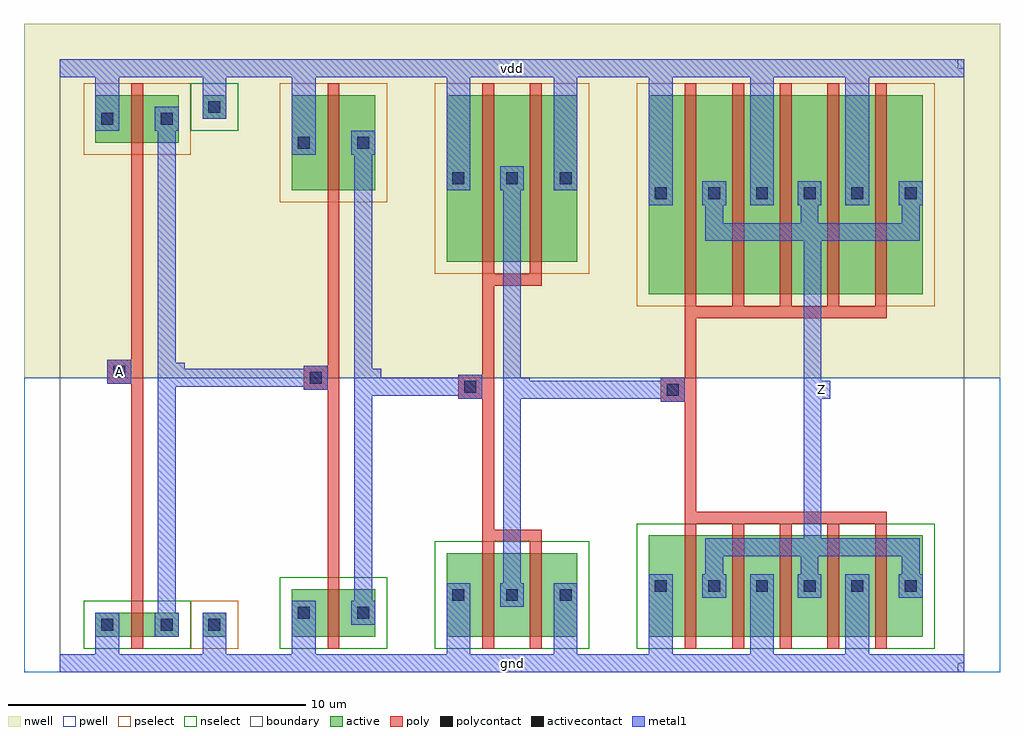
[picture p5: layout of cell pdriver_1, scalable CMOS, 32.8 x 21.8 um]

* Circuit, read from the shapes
.subckt pdriver_1 A Z gnd vdd
M1 pinv_10_1/A A gnd gnd nfet w=0.8u l=0.4u
M2 pinv_15_2/A pinv_10_1/A gnd gnd nfet w=1.6u l=0.4u
M3 pinv_16_3/A pinv_15_2/A gnd gnd nfet w=2.8u l=0.4u m=2
M4 Z pinv_16_3/A gnd gnd nfet w=3.4u l=0.4u m=5
M5 pinv_10_1/A A vdd vdd pfet w=1.6u l=0.4u
M6 pinv_15_2/A pinv_10_1/A vdd vdd pfet w=3.2u l=0.4u
M7 pinv_16_3/A pinv_15_2/A vdd vdd pfet w=5.6u l=0.4u m=2
M8 Z pinv_16_3/A vdd vdd pfet w=6.7u l=0.4u m=5
.ends

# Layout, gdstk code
import gdstk
lib = gdstk.Library(unit=1e-6, precision=1e-09)
def R(c, l, rs):  # rectangles x0, y0, x1, y1
    for r in rs: c.add(gdstk.rectangle(r[:2], r[2:], *l))
def A(c, l, x, y, w, h, nx, ny, dx, dy):  # array of equal rectangles
    R(c, l, [(x+i*dx, y+j*dy, x+i*dx+w, y+j*dy+h) for i in range(nx) for j in range(ny)])
pwell = (41, 0)
nwell = (42, 0)
active = (43, 0)
pselect = (44, 0)
nselect = (45, 0)
poly = (46, 0)
polycontact = (47, 0)
activecontact = (48, 0)
metal1 = (49, 0)
boundary = (63, 0)

contact_10 = lib.new_cell('contact_10')
R(contact_10, nwell, [(-1.2,-1.2,2,2)])
R(contact_10, active, [(0,0,0.8,0.8)])
R(contact_10, pselect, [(-0.4,-0.4,1.2,1.2)])
R(contact_10, activecontact, [(0.2,0.2,0.6,0.6)])
R(contact_10, metal1, [(0,0,0.8,0.8)])
R(contact_10, boundary, [(-1.2,-1.2,2,2)])

pmos_m1_w1_600_sm1_dm1_d = lib.new_cell('pmos_m1_w1_600_sm1_dm1_da_p')
R(pmos_m1_w1_600_sm1_dm1_d, nwell, [(-1.2,-1.2,4,2.8)])
R(pmos_m1_w1_600_sm1_dm1_d, active, [(0,0,2.8,1.6)])
R(pmos_m1_w1_600_sm1_dm1_d, pselect, [(-0.4,-0.4,3.2,2)])
R(pmos_m1_w1_600_sm1_dm1_d, poly, [(1.2,-0.4,1.6,2), (1.2,-0.4,1.6,2)])
R(pmos_m1_w1_600_sm1_dm1_d, metal1, [(0,0.4,0.8,1.2), (2,0.4,2.8,1.2)])
R(pmos_m1_w1_600_sm1_dm1_d, boundary, [(-1.2,-1.2,4,2.8)])
pmos_m1_w1_600_sm1_dm1_d.add(gdstk.Reference(contact_10, (0,0.4)))
pmos_m1_w1_600_sm1_dm1_d.add(gdstk.Reference(contact_10, (2,0.4)))
pmos_m1_w1_600_sm1_dm1_d.add(gdstk.Label('G', (1.4,0.8), layer=46, texttype=0))
pmos_m1_w1_600_sm1_dm1_d.add(gdstk.Label('S', (0.4,0.8), layer=49, texttype=0))
pmos_m1_w1_600_sm1_dm1_d.add(gdstk.Label('D', (2.4,0.8), layer=49, texttype=0))

contact_9 = lib.new_cell('contact_9')
R(contact_9, pwell, [(-1.2,-1.2,2,2)])
R(contact_9, active, [(0,0,0.8,0.8)])
R(contact_9, nselect, [(-0.4,-0.4,1.2,1.2)])
R(contact_9, activecontact, [(0.2,0.2,0.6,0.6)])
R(contact_9, metal1, [(0,0,0.8,0.8)])
R(contact_9, boundary, [(-1.2,-1.2,2,2)])

nmos_m1_w0_800_sm1_dm1_d = lib.new_cell('nmos_m1_w0_800_sm1_dm1_da_p')
R(nmos_m1_w0_800_sm1_dm1_d, pwell, [(-1.2,-1.2,4,2)])
R(nmos_m1_w0_800_sm1_dm1_d, active, [(0,0,2.8,0.8)])
R(nmos_m1_w0_800_sm1_dm1_d, nselect, [(-0.4,-0.4,3.2,1.2)])
R(nmos_m1_w0_800_sm1_dm1_d, poly, [(1.2,-0.4,1.6,1.2), (1.2,-0.4,1.6,1.2)])
R(nmos_m1_w0_800_sm1_dm1_d, metal1, [(0,0,0.8,0.8), (2,0,2.8,0.8)])
R(nmos_m1_w0_800_sm1_dm1_d, boundary, [(-1.2,-1.2,4,2)])
nmos_m1_w0_800_sm1_dm1_d.add(gdstk.Reference(contact_9, (0,0)))
nmos_m1_w0_800_sm1_dm1_d.add(gdstk.Reference(contact_9, (2,0)))
nmos_m1_w0_800_sm1_dm1_d.add(gdstk.Label('G', (1.4,0.4), layer=46, texttype=0))
nmos_m1_w0_800_sm1_dm1_d.add(gdstk.Label('S', (0.4,0.4), layer=49, texttype=0))
nmos_m1_w0_800_sm1_dm1_d.add(gdstk.Label('D', (2.4,0.4), layer=49, texttype=0))

contact_11 = lib.new_cell('contact_11')
R(contact_11, nwell, [(-1.2,-1.2,2,2)])
R(contact_11, active, [(0,0,0.8,0.8)])
R(contact_11, nselect, [(-0.4,-0.4,1.2,1.2)])
R(contact_11, activecontact, [(0.2,0.2,0.6,0.6)])
R(contact_11, metal1, [(0,0,0.8,0.8)])
R(contact_11, boundary, [(-1.2,-1.2,2,2)])

contact_12 = lib.new_cell('contact_12')
R(contact_12, pwell, [(-1.2,-1.2,2,2)])
R(contact_12, active, [(0,0,0.8,0.8)])
R(contact_12, pselect, [(-0.4,-0.4,1.2,1.2)])
R(contact_12, activecontact, [(0.2,0.2,0.6,0.6)])
R(contact_12, metal1, [(0,0,0.8,0.8)])
R(contact_12, boundary, [(-1.2,-1.2,2,2)])

contact_13 = lib.new_cell('contact_13')
R(contact_13, poly, [(0,0,0.8,0.8)])
R(contact_13, polycontact, [(0.2,0.2,0.6,0.6)])
R(contact_13, metal1, [(0,0,0.8,0.8)])
R(contact_13, boundary, [(0,0,0.8,0.8)])

pinv_8 = lib.new_cell('pinv_8')
R(pinv_8, pwell, [(-1.2,-0.3,7.8,9.6)])
R(pinv_8, nwell, [(-1.2,9.6,7.8,21.5)])
R(pinv_8, poly, [(2.4,2.1,2.8,17.1), (2,9.4,2.4,10.2)])
R(pinv_8, metal1, [(0,-0.3,6.6,0.3), (1.2,-0.3,2,0.9), (4.8,0,5.6,1.3), (3.3,0.9,3.9,18.7), (1.6,9.4,2.4,10.2), (3.6,9.5,4.2,10.1), (1.2,17.9,2,20.3), (4.8,18.7,5.6,20), (0,19.7,6.6,20.3)])
R(pinv_8, boundary, [(0,0,6.6,20), (0,0,6.6,20)])
pinv_8.add(gdstk.Reference(pmos_m1_w1_600_sm1_dm1_d, (1.2,17.5)))
pinv_8.add(gdstk.Reference(nmos_m1_w0_800_sm1_dm1_d, (1.2,0.9)))
pinv_8.add(gdstk.Reference(contact_11, (4.8,18.3)))
pinv_8.add(gdstk.Reference(contact_12, (4.8,0.9)))
pinv_8.add(gdstk.Reference(contact_13, (1.6,9.4)))
pinv_8.add(gdstk.Label('A', (2,9.8), layer=49, texttype=0))
pinv_8.add(gdstk.Label('Z', (3.9,9.8), layer=49, texttype=0))
pinv_8.add(gdstk.Label('gnd', (3.3,0), layer=49, texttype=0))
pinv_8.add(gdstk.Label('vdd', (3.3,20), layer=49, texttype=0))

pmos_m1_w3_200_sm1_dm1_d = lib.new_cell('pmos_m1_w3_200_sm1_dm1_da_p')
R(pmos_m1_w3_200_sm1_dm1_d, nwell, [(-1.2,-1.2,4,4.4)])
R(pmos_m1_w3_200_sm1_dm1_d, active, [(0,0,2.8,3.2)])
R(pmos_m1_w3_200_sm1_dm1_d, pselect, [(-0.4,-0.4,3.2,3.6)])
R(pmos_m1_w3_200_sm1_dm1_d, poly, [(1.2,-0.4,1.6,3.6), (1.2,-0.4,1.6,3.6)])
R(pmos_m1_w3_200_sm1_dm1_d, metal1, [(0,1.2,0.8,2), (2,1.2,2.8,2)])
R(pmos_m1_w3_200_sm1_dm1_d, boundary, [(-1.2,-1.2,4,4.4)])
pmos_m1_w3_200_sm1_dm1_d.add(gdstk.Reference(contact_10, (0,1.2)))
pmos_m1_w3_200_sm1_dm1_d.add(gdstk.Reference(contact_10, (2,1.2)))
pmos_m1_w3_200_sm1_dm1_d.add(gdstk.Label('G', (1.4,1.6), layer=46, texttype=0))
pmos_m1_w3_200_sm1_dm1_d.add(gdstk.Label('S', (0.4,1.6), layer=49, texttype=0))
pmos_m1_w3_200_sm1_dm1_d.add(gdstk.Label('D', (2.4,1.6), layer=49, texttype=0))

nmos_m1_w1_600_sm1_dm1_d = lib.new_cell('nmos_m1_w1_600_sm1_dm1_da_p')
R(nmos_m1_w1_600_sm1_dm1_d, pwell, [(-1.2,-1.2,4,2.8)])
R(nmos_m1_w1_600_sm1_dm1_d, active, [(0,0,2.8,1.6)])
R(nmos_m1_w1_600_sm1_dm1_d, nselect, [(-0.4,-0.4,3.2,2)])
R(nmos_m1_w1_600_sm1_dm1_d, poly, [(1.2,-0.4,1.6,2), (1.2,-0.4,1.6,2)])
R(nmos_m1_w1_600_sm1_dm1_d, metal1, [(0,0.4,0.8,1.2), (2,0.4,2.8,1.2)])
R(nmos_m1_w1_600_sm1_dm1_d, boundary, [(-1.2,-1.2,4,2.8)])
nmos_m1_w1_600_sm1_dm1_d.add(gdstk.Reference(contact_9, (0,0.4)))
nmos_m1_w1_600_sm1_dm1_d.add(gdstk.Reference(contact_9, (2,0.4)))
nmos_m1_w1_600_sm1_dm1_d.add(gdstk.Label('G', (1.4,0.8), layer=46, texttype=0))
nmos_m1_w1_600_sm1_dm1_d.add(gdstk.Label('S', (0.4,0.8), layer=49, texttype=0))
nmos_m1_w1_600_sm1_dm1_d.add(gdstk.Label('D', (2.4,0.8), layer=49, texttype=0))

pinv_10 = lib.new_cell('pinv_10')
R(pinv_10, pwell, [(-1.2,-0.3,6.4,9.6)])
R(pinv_10, nwell, [(-1.2,9.6,6.4,21.5)])
R(pinv_10, poly, [(2.4,2.9,2.8,15.5), (2,9.2,2.4,10)])
R(pinv_10, metal1, [(0,-0.3,5.2,0.3), (1.2,-0.3,2,1.3), (3.3,1.3,3.9,17.9), (1.6,9.2,2.4,10), (3.6,9.3,4.2,9.9), (1.2,17.1,2,20.3), (0,19.7,5.2,20.3)])
R(pinv_10, boundary, [(0,0,5.2,20), (0,0,5.2,20)])
pinv_10.add(gdstk.Reference(pmos_m1_w3_200_sm1_dm1_d, (1.2,15.9)))
pinv_10.add(gdstk.Reference(nmos_m1_w1_600_sm1_dm1_d, (1.2,0.9)))
pinv_10.add(gdstk.Reference(contact_13, (1.6,9.2)))
pinv_10.add(gdstk.Label('A', (2,9.6), layer=49, texttype=0))
pinv_10.add(gdstk.Label('Z', (3.9,9.6), layer=49, texttype=0))
pinv_10.add(gdstk.Label('gnd', (2.6,0), layer=49, texttype=0))
pinv_10.add(gdstk.Label('vdd', (2.6,20), layer=49, texttype=0))

pmos_m2_w5_600_sm1_dm1_d = lib.new_cell('pmos_m2_w5_600_sm1_dm1_da_p')
R(pmos_m2_w5_600_sm1_dm1_d, nwell, [(-1.2,-1.2,5.6,6.8)])
R(pmos_m2_w5_600_sm1_dm1_d, active, [(0,0,4.4,5.6)])
R(pmos_m2_w5_600_sm1_dm1_d, pselect, [(-0.4,-0.4,4.8,6)])
R(pmos_m2_w5_600_sm1_dm1_d, poly, [(1.2,-0.8,3.2,-0.4), (1.2,-0.4,1.6,6), (2.8,-0.4,3.2,6)])
A(pmos_m2_w5_600_sm1_dm1_d, metal1, 0, 2.4, 0.8, 0.8, 3, 1, 1.8, 0)
R(pmos_m2_w5_600_sm1_dm1_d, boundary, [(-1.2,-1.2,5.6,6.8)])
pmos_m2_w5_600_sm1_dm1_d.add(gdstk.Reference(contact_10, (0,2.4)))
pmos_m2_w5_600_sm1_dm1_d.add(gdstk.Reference(contact_10, (1.8,2.4)))
pmos_m2_w5_600_sm1_dm1_d.add(gdstk.Reference(contact_10, (3.6,2.4)))
pmos_m2_w5_600_sm1_dm1_d.add(gdstk.Label('G', (2.2,-0.6), layer=46, texttype=0))
pmos_m2_w5_600_sm1_dm1_d.add(gdstk.Label('S', (0.4,2.8), layer=49, texttype=0))
pmos_m2_w5_600_sm1_dm1_d.add(gdstk.Label('S', (4,2.8), layer=49, texttype=0))
pmos_m2_w5_600_sm1_dm1_d.add(gdstk.Label('D', (2.2,2.8), layer=49, texttype=0))

nmos_m2_w2_800_sm1_dm1_d = lib.new_cell('nmos_m2_w2_800_sm1_dm1_da_p')
R(nmos_m2_w2_800_sm1_dm1_d, pwell, [(-1.2,-1.2,5.6,4)])
R(nmos_m2_w2_800_sm1_dm1_d, active, [(0,0,4.4,2.8)])
R(nmos_m2_w2_800_sm1_dm1_d, nselect, [(-0.4,-0.4,4.8,3.2)])
R(nmos_m2_w2_800_sm1_dm1_d, poly, [(1.2,-0.4,1.6,3.2), (2.8,-0.4,3.2,3.2), (1.2,3.2,3.2,3.6)])
A(nmos_m2_w2_800_sm1_dm1_d, metal1, 0, 1, 0.8, 0.8, 3, 1, 1.8, 0)
R(nmos_m2_w2_800_sm1_dm1_d, boundary, [(-1.2,-1.2,5.6,4)])
nmos_m2_w2_800_sm1_dm1_d.add(gdstk.Reference(contact_9, (0,1)))
nmos_m2_w2_800_sm1_dm1_d.add(gdstk.Reference(contact_9, (1.8,1)))
nmos_m2_w2_800_sm1_dm1_d.add(gdstk.Reference(contact_9, (3.6,1)))
nmos_m2_w2_800_sm1_dm1_d.add(gdstk.Label('G', (2.2,3.4), layer=46, texttype=0))
nmos_m2_w2_800_sm1_dm1_d.add(gdstk.Label('S', (0.4,1.4), layer=49, texttype=0))
nmos_m2_w2_800_sm1_dm1_d.add(gdstk.Label('S', (4,1.4), layer=49, texttype=0))
nmos_m2_w2_800_sm1_dm1_d.add(gdstk.Label('D', (2.2,1.4), layer=49, texttype=0))

pinv_15 = lib.new_cell('pinv_15')
R(pinv_15, pwell, [(-1.2,-0.3,8,9.6)])
R(pinv_15, nwell, [(-1.2,9.6,8,21.5)])
R(pinv_15, poly, [(2.4,4.5,2.8,12.7), (2,8.9,2.4,9.7)])
R(pinv_15, metal1, [(0,-0.3,6.8,0.3), (1.2,-0.3,2,1.9), (4.8,-0.3,5.6,1.9), (3.1,1.9,3.7,16.7), (1.6,8.9,2.4,9.7), (3.4,9,4,9.6), (1.2,15.9,2,20.3), (4.8,15.9,5.6,20.3), (0,19.7,6.8,20.3)])
R(pinv_15, boundary, [(0,0,6.8,20), (0,0,6.8,20)])
pinv_15.add(gdstk.Reference(pmos_m2_w5_600_sm1_dm1_d, (1.2,13.5)))
pinv_15.add(gdstk.Reference(nmos_m2_w2_800_sm1_dm1_d, (1.2,0.9)))
pinv_15.add(gdstk.Reference(contact_13, (1.6,8.9)))
pinv_15.add(gdstk.Label('A', (2,9.3), layer=49, texttype=0))
pinv_15.add(gdstk.Label('Z', (3.7,9.3), layer=49, texttype=0))
pinv_15.add(gdstk.Label('gnd', (3.4,0), layer=49, texttype=0))
pinv_15.add(gdstk.Label('vdd', (3.4,20), layer=49, texttype=0))

pmos_m5_w6_700_sm1_dm1_d = lib.new_cell('pmos_m5_w6_700_sm1_dm1_da_p')
R(pmos_m5_w6_700_sm1_dm1_d, nwell, [(-1.2,-1.2,10.4,7.9)])
R(pmos_m5_w6_700_sm1_dm1_d, active, [(0,0,9.2,6.7)])
R(pmos_m5_w6_700_sm1_dm1_d, pselect, [(-0.4,-0.4,9.6,7.1)])
A(pmos_m5_w6_700_sm1_dm1_d, poly, 1.2, -0.4, 0.4, 7.5, 5, 1, 1.6, 0)
R(pmos_m5_w6_700_sm1_dm1_d, poly, [(1.2,-0.8,8,-0.4)])
R(pmos_m5_w6_700_sm1_dm1_d, metal1, [(1.9,1.8,9.1,2.4), (1.9,2,2.5,3.4), (5.1,2,5.7,3.4), (8.5,2,9.1,3.4), (0,3,0.8,3.8), (3.4,3,4.2,3.8), (6.6,3,7.4,3.8)])
R(pmos_m5_w6_700_sm1_dm1_d, boundary, [(-1.2,-1.2,10.4,7.9)])
pmos_m5_w6_700_sm1_dm1_d.add(gdstk.Reference(contact_10, (0,3)))
pmos_m5_w6_700_sm1_dm1_d.add(gdstk.Reference(contact_10, (1.8,3)))
pmos_m5_w6_700_sm1_dm1_d.add(gdstk.Reference(contact_10, (3.4,3)))
pmos_m5_w6_700_sm1_dm1_d.add(gdstk.Reference(contact_10, (5,3)))
pmos_m5_w6_700_sm1_dm1_d.add(gdstk.Reference(contact_10, (6.6,3)))
pmos_m5_w6_700_sm1_dm1_d.add(gdstk.Reference(contact_10, (8.4,3)))
pmos_m5_w6_700_sm1_dm1_d.add(gdstk.Label('G', (4.6,-0.6), layer=46, texttype=0))
pmos_m5_w6_700_sm1_dm1_d.add(gdstk.Label('S', (3.8,3.4), layer=49, texttype=0))
pmos_m5_w6_700_sm1_dm1_d.add(gdstk.Label('S', (7,3.4), layer=49, texttype=0))
pmos_m5_w6_700_sm1_dm1_d.add(gdstk.Label('S', (0.4,3.4), layer=49, texttype=0))
pmos_m5_w6_700_sm1_dm1_d.add(gdstk.Label('D', (5.5,2.1), layer=49, texttype=0))

nmos_m5_w3_400_sm1_dm1_d = lib.new_cell('nmos_m5_w3_400_sm1_dm1_da_p')
R(nmos_m5_w3_400_sm1_dm1_d, pwell, [(-1.2,-1.2,10.4,4.6)])
R(nmos_m5_w3_400_sm1_dm1_d, active, [(0,0,9.2,3.4)])
R(nmos_m5_w3_400_sm1_dm1_d, nselect, [(-0.4,-0.4,9.6,3.8)])
A(nmos_m5_w3_400_sm1_dm1_d, poly, 1.2, -0.4, 0.4, 4.2, 5, 1, 1.6, 0)
R(nmos_m5_w3_400_sm1_dm1_d, poly, [(1.2,3.8,8,4.2)])
R(nmos_m5_w3_400_sm1_dm1_d, metal1, [(0,1.3,0.8,2.1), (3.4,1.3,4.2,2.1), (6.6,1.3,7.4,2.1), (1.9,1.7,2.5,3), (5.1,1.7,5.7,3), (8.5,1.7,9.1,3), (1.9,2.7,9.1,3.3)])
R(nmos_m5_w3_400_sm1_dm1_d, boundary, [(-1.2,-1.2,10.4,4.6)])
nmos_m5_w3_400_sm1_dm1_d.add(gdstk.Reference(contact_9, (0,1.3)))
nmos_m5_w3_400_sm1_dm1_d.add(gdstk.Reference(contact_9, (1.8,1.3)))
nmos_m5_w3_400_sm1_dm1_d.add(gdstk.Reference(contact_9, (3.4,1.3)))
nmos_m5_w3_400_sm1_dm1_d.add(gdstk.Reference(contact_9, (5,1.3)))
nmos_m5_w3_400_sm1_dm1_d.add(gdstk.Reference(contact_9, (6.6,1.3)))
nmos_m5_w3_400_sm1_dm1_d.add(gdstk.Reference(contact_9, (8.4,1.3)))
nmos_m5_w3_400_sm1_dm1_d.add(gdstk.Label('G', (4.6,4), layer=46, texttype=0))
nmos_m5_w3_400_sm1_dm1_d.add(gdstk.Label('S', (0.4,1.7), layer=49, texttype=0))
nmos_m5_w3_400_sm1_dm1_d.add(gdstk.Label('S', (7,1.7), layer=49, texttype=0))
nmos_m5_w3_400_sm1_dm1_d.add(gdstk.Label('S', (3.8,1.7), layer=49, texttype=0))
nmos_m5_w3_400_sm1_dm1_d.add(gdstk.Label('D', (5.5,3), layer=49, texttype=0))

pinv_16 = lib.new_cell('pinv_16')
R(pinv_16, pwell, [(-1.2,-0.3,13,9.6)])
R(pinv_16, nwell, [(-1.2,9.6,13,21.5)])
R(pinv_16, poly, [(2.4,5.1,2.8,11.6), (2,8.8,2.4,9.6)])
R(pinv_16, metal1, [(0,-0.3,11.8,0.3), (1.2,-0.3,2,2.2), (4.6,-0.3,5.4,2.2), (7.8,-0.3,8.6,2.2), (6.4,3.6,7,14.8), (1.6,8.8,2.4,9.6), (6.7,8.9,7.3,9.5), (1.2,15.4,2,20.3), (4.6,15.4,5.4,20.3), (7.8,15.4,8.6,20.3), (0,19.7,11.8,20.3)])
R(pinv_16, boundary, [(0,0,11.8,20), (0,0,11.8,20)])
pinv_16.add(gdstk.Reference(pmos_m5_w6_700_sm1_dm1_d, (1.2,12.4)))
pinv_16.add(gdstk.Reference(nmos_m5_w3_400_sm1_dm1_d, (1.2,0.9)))
pinv_16.add(gdstk.Reference(contact_13, (1.6,8.8)))
pinv_16.add(gdstk.Label('A', (2,9.2), layer=49, texttype=0))
pinv_16.add(gdstk.Label('Z', (7,9.2), layer=49, texttype=0))
pinv_16.add(gdstk.Label('gnd', (5.9,0), layer=49, texttype=0))
pinv_16.add(gdstk.Label('vdd', (5.9,20), layer=49, texttype=0))

pdriver_1 = lib.new_cell('pdriver_1')
R(pdriver_1, pwell, [(-1.2,-0.3,31.6,9.6)])
R(pdriver_1, nwell, [(-1.2,9.6,31.6,21.5)])
R(pdriver_1, metal1, [(0,-0.3,30.4,0.3), (15.2,8.9,15.8,9.5), (15.5,8.9,20.6,9.5), (25.3,8.9,25.9,9.5), (10.2,9,10.8,9.6), (10.5,9,13.8,9.6), (15.2,9.2,15.8,9.3), (3.6,9.3,4.2,9.9), (3.9,9.3,8.6,9.9), (10.2,9.3,10.8,9.6), (1.6,9.4,2.4,10.2), (3.6,9.6,4.2,9.8), (0,19.7,30.4,20.3)])
R(pdriver_1, boundary, [(0,0,30.4,20), (0,0,30.4,20)])
pdriver_1.add(gdstk.Reference(pinv_8, (0,0)))
pdriver_1.add(gdstk.Reference(pinv_10, (6.6,0)))
pdriver_1.add(gdstk.Reference(pinv_15, (11.8,0)))
pdriver_1.add(gdstk.Reference(pinv_16, (18.6,0)))
pdriver_1.add(gdstk.Label('Z', (25.6,9.2), layer=49, texttype=0))
pdriver_1.add(gdstk.Label('A', (2,9.8), layer=49, texttype=0))
pdriver_1.add(gdstk.Label('gnd', (15.2,0), layer=49, texttype=0))
pdriver_1.add(gdstk.Label('vdd', (15.2,20), layer=49, texttype=0))

lib.write_gds('pdriver_1.gds')
